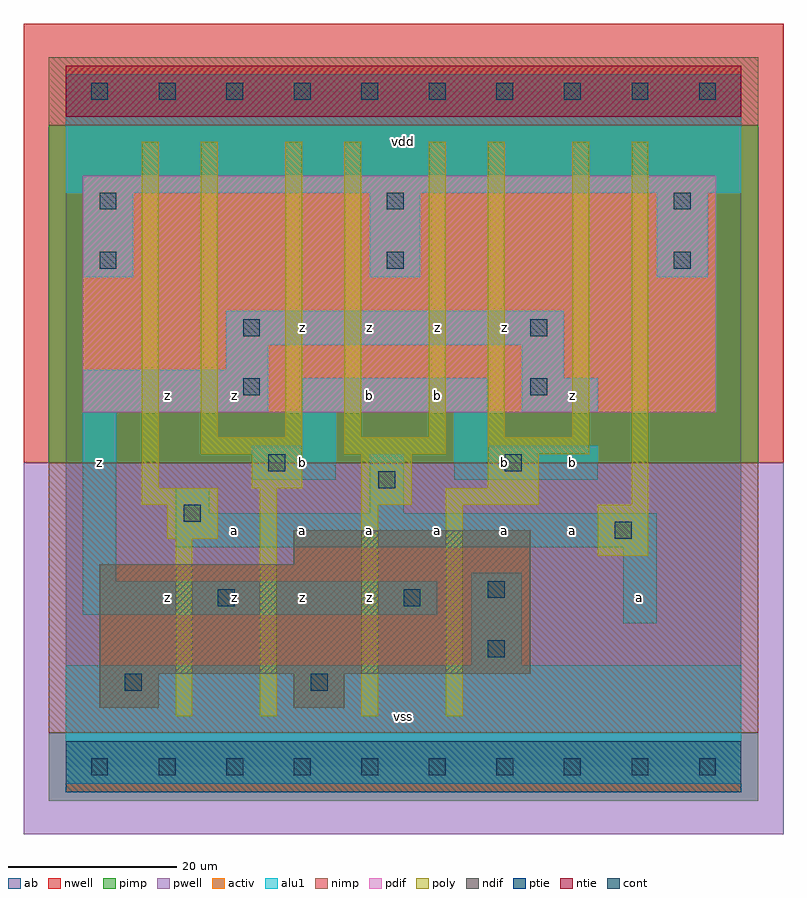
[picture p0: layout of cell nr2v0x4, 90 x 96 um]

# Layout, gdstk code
import gdstk
lib = gdstk.Library(unit=1e-6, precision=1e-09)
def R(c, l, rs):  # rectangles x0, y0, x1, y1
    for r in rs: c.add(gdstk.rectangle(r[:2], r[2:], *l))
def A(c, l, x, y, w, h, nx, ny, dx, dy):  # array of equal rectangles
    R(c, l, [(x+i*dx, y+j*dy, x+i*dx+w, y+j*dy+h) for i in range(nx) for j in range(ny)])
ndif = (3, 0)
pdif = (4, 0)
ntie = (5, 0)
ptie = (6, 0)
cont = (25, 0)
pwell = (41, 0)
nwell = (42, 0)
activ = (43, 0)
pimp = (44, 0)
nimp = (45, 0)
poly = (46, 0)
alu1 = (49, 0)
ab = (63, 0)

nr2v0x4 = lib.new_cell('nr2v0x4')
R(nr2v0x4, ndif, [(4,7,11,11), (27,7,33,11), (4,11,55,24), (27,24,55,28)])
R(nr2v0x4, pdif, [(2,42,77,70)])
R(nr2v0x4, ntie, [(0,77,80,83)])
R(nr2v0x4, ptie, [(0,-3,80,3)])
A(nr2v0x4, cont, 3, -1, 2, 2, 10, 2, 8, 80)
A(nr2v0x4, cont, 4, 59, 2, 2, 3, 2, 34, 7)
R(nr2v0x4, cont, [(7,9,9,11), (29,9,31,11), (50,13,52,15), (18,19,20,21), (40,19,42,21), (50,20,52,22), (65,27,67,29), (14,29,16,31), (37,33,39,35), (24,35,26,37), (52,35,54,37), (21,44,23,46), (55,44,57,46), (21,51,23,53), (55,51,57,53)])
R(nr2v0x4, pwell, [(-5,-8,85,36)])
R(nr2v0x4, nwell, [(-5,36,85,88)])
R(nr2v0x4, activ, [(0,-3,80,3), (4,7,11,11), (27,7,33,11), (4,11,55,24), (27,24,55,28), (2,42,77,70), (0,77,80,83)])
R(nr2v0x4, pimp, [(-2,-4,82,4), (-2,36,82,76)])
R(nr2v0x4, nimp, [(-2,4,82,36), (-2,76,82,84)])
A(nr2v0x4, poly, 16, 37, 12, 2, 3, 1, 17, 0)
R(nr2v0x4, poly, [(13,6,15,27), (23,6,25,33), (35,6,37,31), (45,6,47,31), (63,25,69,31), (12,27,18,31), (9,31,18,33), (35,31,41,37), (45,31,56,33), (67,31,69,74), (9,33,11,74), (22,33,28,37), (50,33,56,37), (16,39,18,74), (26,39,28,74), (33,39,35,74), (43,39,45,74), (50,39,52,74), (60,39,62,74)])
A(nr2v0x4, alu1, 2, 58, 6, 10, 3, 1, 34, 0)
R(nr2v0x4, alu1, [(0,-2,80,12), (48,12,54,23), (66,17,70,26), (2,18,44,22), (2,22,6,42), (13,26,70,30), (13,30,17,33), (36,30,40,37), (22,34,32,38), (46,34,63,38), (28,38,32,42), (46,38,50,42), (2,42,24,47), (28,42,50,46), (54,42,63,46), (54,46,59,50), (19,47,24,50), (19,50,59,54), (0,68,80,82)])
R(nr2v0x4, ab, [(0,0,80,80)])
nr2v0x4.add(gdstk.Label('z', (4,36), layer=49, texttype=0))
nr2v0x4.add(gdstk.Label('z', (12,20), layer=49, texttype=0))
nr2v0x4.add(gdstk.Label('z', (20,20), layer=49, texttype=0))
nr2v0x4.add(gdstk.Label('a', (20,28), layer=49, texttype=0))
nr2v0x4.add(gdstk.Label('z', (28,20), layer=49, texttype=0))
nr2v0x4.add(gdstk.Label('a', (28,28), layer=49, texttype=0))
nr2v0x4.add(gdstk.Label('z', (12,44), layer=49, texttype=0))
nr2v0x4.add(gdstk.Label('z', (20,44), layer=49, texttype=0))
nr2v0x4.add(gdstk.Label('b', (28,36), layer=49, texttype=0))
nr2v0x4.add(gdstk.Label('z', (28,52), layer=49, texttype=0))
nr2v0x4.add(gdstk.Label('vss', (40,6), layer=49, texttype=0))
nr2v0x4.add(gdstk.Label('z', (36,20), layer=49, texttype=0))
nr2v0x4.add(gdstk.Label('a', (36,28), layer=49, texttype=0))
nr2v0x4.add(gdstk.Label('a', (44,28), layer=49, texttype=0))
nr2v0x4.add(gdstk.Label('b', (36,44), layer=49, texttype=0))
nr2v0x4.add(gdstk.Label('b', (44,44), layer=49, texttype=0))
nr2v0x4.add(gdstk.Label('z', (36,52), layer=49, texttype=0))
nr2v0x4.add(gdstk.Label('z', (44,52), layer=49, texttype=0))
nr2v0x4.add(gdstk.Label('vdd', (40,74), layer=49, texttype=0))
nr2v0x4.add(gdstk.Label('a', (52,28), layer=49, texttype=0))
nr2v0x4.add(gdstk.Label('a', (60,28), layer=49, texttype=0))
nr2v0x4.add(gdstk.Label('b', (52,36), layer=49, texttype=0))
nr2v0x4.add(gdstk.Label('b', (60,36), layer=49, texttype=0))
nr2v0x4.add(gdstk.Label('z', (60,44), layer=49, texttype=0))
nr2v0x4.add(gdstk.Label('z', (52,52), layer=49, texttype=0))
nr2v0x4.add(gdstk.Label('a', (68,20), layer=49, texttype=0))

lib.write_gds('nr2v0x4.gds')
